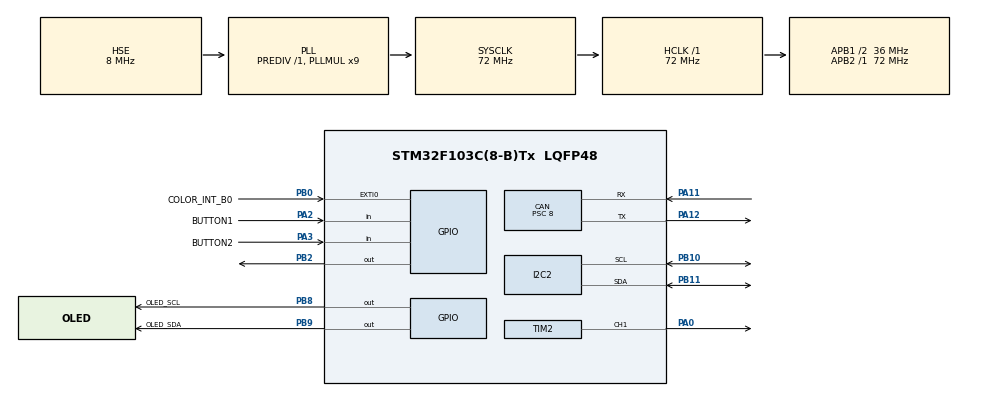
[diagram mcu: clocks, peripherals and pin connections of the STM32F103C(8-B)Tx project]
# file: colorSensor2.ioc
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CAN.ABOM=ENABLE
CAN.AWUM=ENABLE
CAN.BS1=CAN_BS1_15TQ
CAN.BS2=CAN_BS2_2TQ
CAN.CalculateBaudRate=250000
CAN.CalculateTimeBit=4000
CAN.CalculateTimeQuantum=222.22222222222223
CAN.Prescaler=8
CAN.RFLM=DISABLE
CAN.TXFP=DISABLE
FREERTOS.Tasks01=ProcessingTask,48,512,StartProcessingTask,Default,NULL,Static,ProcessingTaskBuffer,ProcessingTaskControlBlock;CanOpenTask,24,256,StartCanOpenTask,Default,NULL,Static,CanOpenTaskBuffer,CanOpenTaskControlBlock;WriteScreenTask,8,256,StartWriteScreenTask,Default,NULL,Static,WriteScreenBuffer,WriteScreenControlBlock;ReadButtons,16,128,StartReadButtonsTask,Default,NULL,Static,ReadButtonsBuffer,ReadButtonsControlBlock
FREERTOS.configUSE_NEWLIB_REENTRANT=1
I2C2.I2C_Mode=I2C_Fast
IWDG.Prescaler=IWDG_PRESCALER_64
Mcu.Family=STM32F1
Mcu.Name=STM32F103C(8-B)Tx
Mcu.Package=LQFP48
NVIC.CAN1_RX1_IRQn=true\:1\:0\:true\:false\:true\:false\:true\:true\:true
NVIC.CAN1_SCE_IRQn=true\:1\:0\:true\:false\:true\:false\:true\:true\:true
NVIC.EXTI0_IRQn=true\:0\:0\:true\:false\:true\:false\:true\:true\:true
NVIC.PriorityGroup=NVIC_PRIORITYGROUP_4
NVIC.TIM1_UP_IRQn=true\:15\:0\:false\:false\:true\:false\:false\:true\:true
NVIC.TIM4_IRQn=true\:2\:0\:true\:false\:true\:false\:true\:true\:true
NVIC.TimeBase=TIM1_UP_IRQn
NVIC.TimeBaseIP=TIM1
NVIC.USB_HP_CAN1_TX_IRQn=true\:1\:0\:true\:false\:true\:false\:true\:true\:true
NVIC.USB_LP_CAN1_RX0_IRQn=true\:1\:0\:true\:false\:true\:false\:true\:true\:true
PA0-WKUP.Signal=S_TIM2_CH1_ETR
PA11.Mode=CAN_Activate
PA11.Signal=CAN_RX
PA12.Mode=CAN_Activate
PA12.Signal=CAN_TX
PA13.Mode=Serial_Wire
PA13.Signal=SYS_JTMS-SWDIO
PA14.Mode=Serial_Wire
PA14.Signal=SYS_JTCK-SWCLK
PA2.GPIO_Label=BUTTON1
PA2.Signal=GPIO_Input
PA3.GPIO_Label=BUTTON2
PA3.Signal=GPIO_Input
PB0.GPIO_Label=COLOR_INT_B0
PB0.GPIO_ModeDefaultEXTI=GPIO_MODE_IT_FALLING
PB0.Signal=GPXTI0
PB10.Mode=I2C
PB10.Signal=I2C2_SCL
PB11.Mode=I2C
PB11.Signal=I2C2_SDA
PB2.Signal=GPIO_Output
PB8.GPIO_Label=OLED_SCL
PB8.GPIO_Speed=GPIO_SPEED_FREQ_MEDIUM
PB8.Signal=GPIO_Output
PB9.GPIO_Label=OLED_SDA
PB9.GPIO_Speed=GPIO_SPEED_FREQ_MEDIUM
PB9.Signal=GPIO_Output
PD0-OSC_IN.Mode=HSE-External-Oscillator
PD0-OSC_IN.Signal=RCC_OSC_IN
PD1-OSC_OUT.Mode=HSE-External-Oscillator
PD1-OSC_OUT.Signal=RCC_OSC_OUT
ProjectManager.HeapSize=0x200
ProjectManager.StackSize=0x400
ProjectManager.TargetToolchain=STM32CubeIDE
RCC.AHBFreq_Value=72000000
RCC.APB1CLKDivider=RCC_HCLK_DIV2
RCC.APB1Freq_Value=36000000
RCC.APB1TimFreq_Value=72000000
RCC.APB2Freq_Value=72000000
RCC.APB2TimFreq_Value=72000000
RCC.HCLKFreq_Value=72000000
RCC.PLLMUL=RCC_PLL_MUL9
RCC.PLLSourceVirtual=RCC_PLLSOURCE_HSE
RCC.SYSCLKFreq_VALUE=72000000
RCC.SYSCLKSource=RCC_SYSCLKSOURCE_PLLCLK
RCC.USBFreq_Value=72000000
SH.S_TIM2_CH1_ETR.0=TIM2_CH1,PWM Generation1 CH1
TIM2.AutoReloadPreload=TIM_AUTORELOAD_PRELOAD_ENABLE
TIM2.Channel-PWM\ Generation1\ CH1=TIM_CHANNEL_1
TIM2.Period=499
TIM2.Prescaler=0
TIM4.Period=999
TIM4.Prescaler=35
VP_FREERTOS_VS_CMSIS_V2.Mode=CMSIS_V2
VP_IWDG_VS_IWDG.Mode=IWDG_Activate
VP_SYS_VS_tim1.Mode=TIM1
VP_TIM2_VS_ClockSourceINT.Mode=Internal
VP_TIM4_VS_ClockSourceINT.Mode=Internal
board=custom

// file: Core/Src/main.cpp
/* USER CODE BEGIN Header */
/**
  ******************************************************************************
  * @file           : main.c
  * @brief          : Main program body
  ******************************************************************************
  * @attention
  *
  * Copyright (c) 2024 STMicroelectronics.
  * All rights reserved.
  *
  * This software is licensed under terms that can be found in the LICENSE file
  * in the root directory of this software component.
  * If no LICENSE file comes with this software, it is provided AS-IS.
  *
  ******************************************************************************
  */
/* USER CODE END Header */
#include "main.h"
#include "cmsis_os.h"

/* USER CODE BEGIN Includes */
//--------------------------------------------------------------------//
//--------------------------------------------------------------------//
#include "PROCESS.h"
//--------------------------------------------------------------------//
//--------------------------------------------------------------------//
/* USER CODE END Includes */

typedef StaticTask_t osStaticThreadDef_t;

CAN_HandleTypeDef hcan;

I2C_HandleTypeDef hi2c2;

IWDG_HandleTypeDef hiwdg;

TIM_HandleTypeDef htim2;
TIM_HandleTypeDef htim4;

/* Definitions for ProcessingTask */
osThreadId_t ProcessingTaskHandle;
uint32_t ProcessingTaskBuffer[ 512 ];
osStaticThreadDef_t ProcessingTaskControlBlock;
const osThreadAttr_t ProcessingTask_attributes = {
  .name = "ProcessingTask",
  .cb_mem = &ProcessingTaskControlBlock,
  .cb_size = sizeof(ProcessingTaskControlBlock),
  .stack_mem = &ProcessingTaskBuffer[0],
  .stack_size = sizeof(ProcessingTaskBuffer),
  .priority = (osPriority_t) osPriorityRealtime,
};
/* Definitions for CanOpenTask */
osThreadId_t CanOpenTaskHandle;
uint32_t CanOpenTaskBuffer[ 256 ];
osStaticThreadDef_t CanOpenTaskControlBlock;
const osThreadAttr_t CanOpenTask_attributes = {
  .name = "CanOpenTask",
  .cb_mem = &CanOpenTaskControlBlock,
  .cb_size = sizeof(CanOpenTaskControlBlock),
  .stack_mem = &CanOpenTaskBuffer[0],
  .stack_size = sizeof(CanOpenTaskBuffer),
  .priority = (osPriority_t) osPriorityNormal,
};
/* Definitions for WriteScreenTask */
osThreadId_t WriteScreenTaskHandle;
uint32_t WriteScreenBuffer[ 256 ];
osStaticThreadDef_t WriteScreenControlBlock;
const osThreadAttr_t WriteScreenTask_attributes = {
  .name = "WriteScreenTask",
  .cb_mem = &WriteScreenControlBlock,
  .cb_size = sizeof(WriteScreenControlBlock),
  .stack_mem = &WriteScreenBuffer[0],
  .stack_size = sizeof(WriteScreenBuffer),
  .priority = (osPriority_t) osPriorityLow,
};
/* Definitions for ReadButtons */
osThreadId_t ReadButtonsHandle;
uint32_t ReadButtonsBuffer[ 128 ];
osStaticThreadDef_t ReadButtonsControlBlock;
const osThreadAttr_t ReadButtons_attributes = {
  .name = "ReadButtons",
  .cb_mem = &ReadButtonsControlBlock,
  .cb_size = sizeof(ReadButtonsControlBlock),
  .stack_mem = &ReadButtonsBuffer[0],
  .stack_size = sizeof(ReadButtonsBuffer),
  .priority = (osPriority_t) osPriorityBelowNormal,
};

void SystemClock_Config(void);
static void MX_GPIO_Init(void);
static void MX_CAN_Init(void);
static void MX_I2C2_Init(void);
static void MX_IWDG_Init(void);
static void MX_TIM2_Init(void);
static void MX_TIM4_Init(void);
void StartProcessingTask(void *argument);
void StartCanOpenTask(void *argument);
void StartWriteScreenTask(void *argument);
void StartReadButtonsTask(void *argument);

/* USER CODE BEGIN PFP */
//--------------------------------------------------------------------//
//--------------------------------------------------------------------//
PROCESS pr{ MX_CAN_Init };
//--------------------------------------------------------------------//
//--------------------------------------------------------------------//
/* USER CODE END PFP */

int main(void)
{

  /* MCU Configuration--------------------------------------------------------*/

  /* Reset of all peripherals, Initializes the Flash interface and the Systick. */
  HAL_Init();

  /* Configure the system clock */
  SystemClock_Config();

  /* Initialize all configured peripherals */
  MX_GPIO_Init();
  MX_CAN_Init();
  MX_I2C2_Init();
  MX_IWDG_Init();
  MX_TIM2_Init();
  MX_TIM4_Init();
  /* USER CODE BEGIN 2 */
  pr.init();
  /* USER CODE END 2 */

  /* Init scheduler */
  osKernelInitialize();

  /* Create the thread(s) */
  /* creation of ProcessingTask */
  ProcessingTaskHandle = osThreadNew(StartProcessingTask, NULL, &ProcessingTask_attributes);

  /* creation of CanOpenTask */
  CanOpenTaskHandle = osThreadNew(StartCanOpenTask, NULL, &CanOpenTask_attributes);

  /* creation of WriteScreenTask */
  WriteScreenTaskHandle = osThreadNew(StartWriteScreenTask, NULL, &WriteScreenTask_attributes);

  /* creation of ReadButtons */
  ReadButtonsHandle = osThreadNew(StartReadButtonsTask, NULL, &ReadButtons_attributes);

  /* Start scheduler */
  osKernelStart();

  /* We should never get here as control is now taken by the scheduler */

  /* Infinite loop */
  while (1)
  {

  }
}

void SystemClock_Config(void)
{
  RCC_OscInitTypeDef RCC_OscInitStruct = {0};
  RCC_ClkInitTypeDef RCC_ClkInitStruct = {0};

  /** Initializes the RCC Oscillators according to the specified parameters
  * in the RCC_OscInitTypeDef structure.
  */
  RCC_OscInitStruct.OscillatorType = RCC_OSCILLATORTYPE_LSI|RCC_OSCILLATORTYPE_HSE;
  RCC_OscInitStruct.HSEState = RCC_HSE_ON;
  RCC_OscInitStruct.HSEPredivValue = RCC_HSE_PREDIV_DIV1;
  RCC_OscInitStruct.HSIState = RCC_HSI_ON;
  RCC_OscInitStruct.LSIState = RCC_LSI_ON;
  RCC_OscInitStruct.PLL.PLLState = RCC_PLL_ON;
  RCC_OscInitStruct.PLL.PLLSource = RCC_PLLSOURCE_HSE;
  RCC_OscInitStruct.PLL.PLLMUL = RCC_PLL_MUL9;
  if (HAL_RCC_OscConfig(&RCC_OscInitStruct) != HAL_OK)
  {
    Error_Handler();
  }

  /** Initializes the CPU, AHB and APB buses clocks
  */
  RCC_ClkInitStruct.ClockType = RCC_CLOCKTYPE_HCLK|RCC_CLOCKTYPE_SYSCLK
                              |RCC_CLOCKTYPE_PCLK1|RCC_CLOCKTYPE_PCLK2;
  RCC_ClkInitStruct.SYSCLKSource = RCC_SYSCLKSOURCE_PLLCLK;
  RCC_ClkInitStruct.AHBCLKDivider = RCC_SYSCLK_DIV1;
  RCC_ClkInitStruct.APB1CLKDivider = RCC_HCLK_DIV2;
  RCC_ClkInitStruct.APB2CLKDivider = RCC_HCLK_DIV1;

  if (HAL_RCC_ClockConfig(&RCC_ClkInitStruct, FLASH_LATENCY_2) != HAL_OK)
  {
    Error_Handler();
  }
}

static void MX_CAN_Init(void)
{

  hcan.Instance = CAN1;
  hcan.Init.Prescaler = 8;
  hcan.Init.Mode = CAN_MODE_NORMAL;
  hcan.Init.SyncJumpWidth = CAN_SJW_1TQ;
  hcan.Init.TimeSeg1 = CAN_BS1_15TQ;
  hcan.Init.TimeSeg2 = CAN_BS2_2TQ;
  hcan.Init.TimeTriggeredMode = DISABLE;
  hcan.Init.AutoBusOff = ENABLE;
  hcan.Init.AutoWakeUp = ENABLE;
  hcan.Init.AutoRetransmission = DISABLE;
  hcan.Init.ReceiveFifoLocked = DISABLE;
  hcan.Init.TransmitFifoPriority = DISABLE;
  if (HAL_CAN_Init(&hcan) != HAL_OK)
  {
    Error_Handler();
  }
  /* USER CODE BEGIN CAN_Init 2 */

  switch (pr.getCoBaud()){

  case 5: //50K
	  hcan.Init.Prescaler = 40;
	  break;
  case 12: //125K
	  hcan.Init.Prescaler = 16;
	  break;
  case 50: //500K
	  hcan.Init.Prescaler = 4;
	  break;
  case 100: //1000K
	  hcan.Init.Prescaler = 2;
	  break;
  default: //250K
	  hcan.Init.Prescaler = 8;
	  break;
  }

  if (HAL_CAN_Init(&hcan) != HAL_OK) {
    Error_Handler();
  }

  /* USER CODE END CAN_Init 2 */

}

static void MX_I2C2_Init(void)
{

  hi2c2.Instance = I2C2;
  hi2c2.Init.ClockSpeed = 400000;
  hi2c2.Init.DutyCycle = I2C_DUTYCYCLE_2;
  hi2c2.Init.OwnAddress1 = 0;
  hi2c2.Init.AddressingMode = I2C_ADDRESSINGMODE_7BIT;
  hi2c2.Init.DualAddressMode = I2C_DUALADDRESS_DISABLE;
  hi2c2.Init.OwnAddress2 = 0;
  hi2c2.Init.GeneralCallMode = I2C_GENERALCALL_DISABLE;
  hi2c2.Init.NoStretchMode = I2C_NOSTRETCH_DISABLE;
  if (HAL_I2C_Init(&hi2c2) != HAL_OK)
  {
    Error_Handler();
  }

}

static void MX_IWDG_Init(void)
{

  hiwdg.Instance = IWDG;
  hiwdg.Init.Prescaler = IWDG_PRESCALER_64;
  hiwdg.Init.Reload = 4095;
  if (HAL_IWDG_Init(&hiwdg) != HAL_OK)
  {
    Error_Handler();
  }

}

static void MX_TIM2_Init(void)
{

  TIM_ClockConfigTypeDef sClockSourceConfig = {0};
  TIM_MasterConfigTypeDef sMasterConfig = {0};
  TIM_OC_InitTypeDef sConfigOC = {0};

  htim2.Instance = TIM2;
  htim2.Init.Prescaler = 0;
  htim2.Init.CounterMode = TIM_COUNTERMODE_UP;
  htim2.Init.Period = 499;
  htim2.Init.ClockDivision = TIM_CLOCKDIVISION_DIV1;
  htim2.Init.AutoReloadPreload = TIM_AUTORELOAD_PRELOAD_ENABLE;
  if (HAL_TIM_Base_Init(&htim2) != HAL_OK)
  {
    Error_Handler();
  }
  sClockSourceConfig.ClockSource = TIM_CLOCKSOURCE_INTERNAL;
  if (HAL_TIM_ConfigClockSource(&htim2, &sClockSourceConfig) != HAL_OK)
  {
    Error_Handler();
  }
  if (HAL_TIM_PWM_Init(&htim2) != HAL_OK)
  {
    Error_Handler();
  }
  sMasterConfig.MasterOutputTrigger = TIM_TRGO_RESET;
  sMasterConfig.MasterSlaveMode = TIM_MASTERSLAVEMODE_DISABLE;
  if (HAL_TIMEx_MasterConfigSynchronization(&htim2, &sMasterConfig) != HAL_OK)
  {
    Error_Handler();
  }
  sConfigOC.OCMode = TIM_OCMODE_PWM1;
  sConfigOC.Pulse = 0;
  sConfigOC.OCPolarity = TIM_OCPOLARITY_HIGH;
  sConfigOC.OCFastMode = TIM_OCFAST_DISABLE;
  if (HAL_TIM_PWM_ConfigChannel(&htim2, &sConfigOC, TIM_CHANNEL_1) != HAL_OK)
  {
    Error_Handler();
  }
  HAL_TIM_MspPostInit(&htim2);

}

static void MX_TIM4_Init(void)
{

  TIM_ClockConfigTypeDef sClockSourceConfig = {0};
  TIM_MasterConfigTypeDef sMasterConfig = {0};

  htim4.Instance = TIM4;
  htim4.Init.Prescaler = 35;
  htim4.Init.CounterMode = TIM_COUNTERMODE_UP;
  htim4.Init.Period = 999;
  htim4.Init.ClockDivision = TIM_CLOCKDIVISION_DIV1;
  htim4.Init.AutoReloadPreload = TIM_AUTORELOAD_PRELOAD_DISABLE;
  if (HAL_TIM_Base_Init(&htim4) != HAL_OK)
  {
    Error_Handler();
  }
  sClockSourceConfig.ClockSource = TIM_CLOCKSOURCE_INTERNAL;
  if (HAL_TIM_ConfigClockSource(&htim4, &sClockSourceConfig) != HAL_OK)
  {
    Error_Handler();
  }
  sMasterConfig.MasterOutputTrigger = TIM_TRGO_RESET;
  sMasterConfig.MasterSlaveMode = TIM_MASTERSLAVEMODE_DISABLE;
  if (HAL_TIMEx_MasterConfigSynchronization(&htim4, &sMasterConfig) != HAL_OK)
  {
    Error_Handler();
  }

}

static void MX_GPIO_Init(void)
{
  GPIO_InitTypeDef GPIO_InitStruct = {0};

  /* GPIO Ports Clock Enable */
  __HAL_RCC_GPIOD_CLK_ENABLE();
  __HAL_RCC_GPIOA_CLK_ENABLE();
  __HAL_RCC_GPIOB_CLK_ENABLE();

  /*Configure GPIO pin Output Level */
  HAL_GPIO_WritePin(GPIOB, GPIO_PIN_2|OLED_SCL_Pin|OLED_SDA_Pin, GPIO_PIN_RESET);

  /*Configure GPIO pins : BUTTON1_Pin BUTTON2_Pin */
  GPIO_InitStruct.Pin = BUTTON1_Pin|BUTTON2_Pin;
  GPIO_InitStruct.Mode = GPIO_MODE_INPUT;
  GPIO_InitStruct.Pull = GPIO_NOPULL;
  HAL_GPIO_Init(GPIOA, &GPIO_InitStruct);

  /*Configure GPIO pin : COLOR_INT_B0_Pin */
  GPIO_InitStruct.Pin = COLOR_INT_B0_Pin;
  GPIO_InitStruct.Mode = GPIO_MODE_IT_FALLING;
  GPIO_InitStruct.Pull = GPIO_NOPULL;
  HAL_GPIO_Init(COLOR_INT_B0_GPIO_Port, &GPIO_InitStruct);

  /*Configure GPIO pin : PB2 */
  GPIO_InitStruct.Pin = GPIO_PIN_2;
  GPIO_InitStruct.Mode = GPIO_MODE_OUTPUT_PP;
  GPIO_InitStruct.Pull = GPIO_NOPULL;
  GPIO_InitStruct.Speed = GPIO_SPEED_FREQ_LOW;
  HAL_GPIO_Init(GPIOB, &GPIO_InitStruct);

  /*Configure GPIO pins : OLED_SCL_Pin OLED_SDA_Pin */
  GPIO_InitStruct.Pin = OLED_SCL_Pin|OLED_SDA_Pin;
  GPIO_InitStruct.Mode = GPIO_MODE_OUTPUT_PP;
  GPIO_InitStruct.Pull = GPIO_NOPULL;
  GPIO_InitStruct.Speed = GPIO_SPEED_FREQ_MEDIUM;
  HAL_GPIO_Init(GPIOB, &GPIO_InitStruct);

  /* EXTI interrupt init*/
  HAL_NVIC_SetPriority(EXTI0_IRQn, 0, 0);
  HAL_NVIC_EnableIRQ(EXTI0_IRQn);

}

/* USER CODE BEGIN 4 */
extern "C"
void HAL_GPIO_EXTI_Callback(uint16_t GPIO_Pin){
	if ( GPIO_Pin == COLOR_INT_B0_Pin ) {
		pr.col.updateDataInt();
	}
}
/* USER CODE END 4 */

void StartProcessingTask(void *argument)
{
  /* USER CODE BEGIN 5 */
  /* Infinite loop */
  for(;;)
  {
	  pr.processing();
	  osDelay(20);
  }
  /* USER CODE END 5 */
}

void StartCanOpenTask(void *argument)
{
  /* USER CODE BEGIN StartCanOpenTask */
  /* Infinite loop */
  for(;;)
  {
	  canopen_app_process();
	  osDelay(10);
  }
  /* USER CODE END StartCanOpenTask */
}

void StartWriteScreenTask(void *argument)
{
  /* USER CODE BEGIN StartWriteScreenTask */
  /* Infinite loop */
  for(;;)
  {
	  // call every 20ms
	  pr.WriteScreenSequence();
	  osDelay(20);
  }
  /* USER CODE END StartWriteScreenTask */
}

void StartReadButtonsTask(void *argument)
{
  /* USER CODE BEGIN StartReadButtonsTask */
  /* Infinite loop */
  for(;;)
  {
	  // call every 20ms
	  pr.bt.catchPressedButton();
	  osDelay(20);
  }
  /* USER CODE END StartReadButtonsTask */
}

void HAL_TIM_PeriodElapsedCallback(TIM_HandleTypeDef *htim)
{
  /* USER CODE BEGIN Callback 0 */

	if (htim == &htim4) {

		canopen_app_interrupt();
	}
	else
  /* USER CODE END Callback 0 */
  if (htim->Instance == TIM1) {
    HAL_IncTick();
  }
}

void Error_Handler(void)
{
  /* USER CODE BEGIN Error_Handler_Debug */
  /* User can add his own implementation to report the HAL error return state */
  __disable_irq();
  while (1)
  {
	  HAL_NVIC_SystemReset();
  }
  /* USER CODE END Error_Handler_Debug */
}
